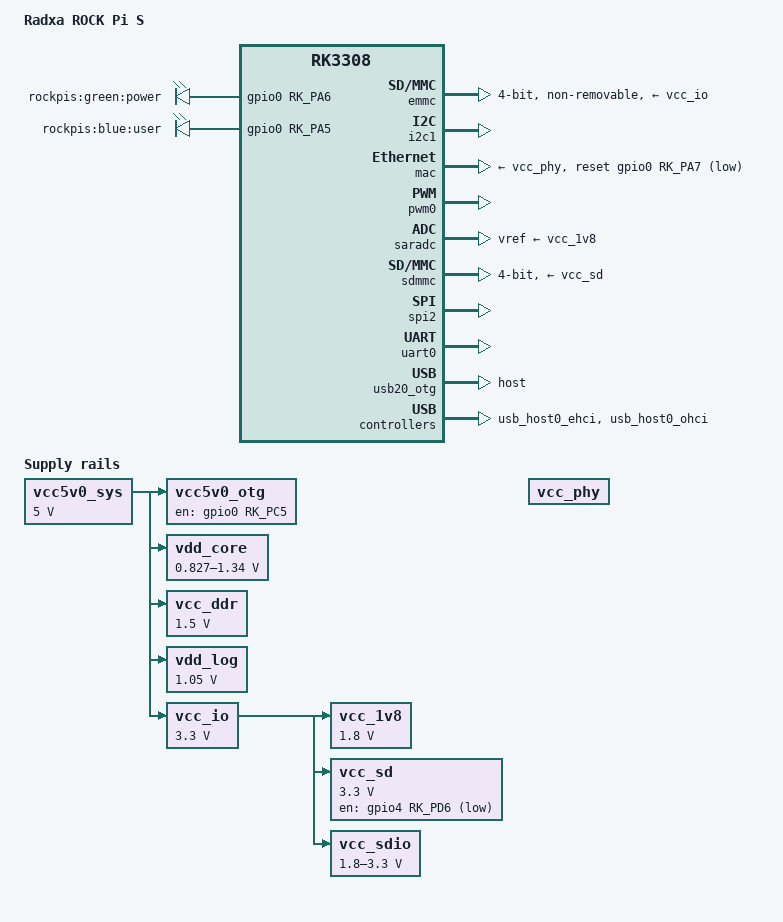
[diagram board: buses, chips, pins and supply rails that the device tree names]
// SPDX-License-Identifier: (GPL-2.0+ OR MIT)
/*
 * Copyright (c) 2019 Akash Gajjar <akash@openedev.com>
 * Copyright (c) 2019 Jagan Teki <jagan@openedev.com>
 */

/dts-v1/;
#include "rk3308.dtsi"

/ {
	model = "Radxa ROCK Pi S";
	compatible = "radxa,rock-pi-s", "rockchip,rk3308";

	chosen {
		stdout-path = "serial0:1500000n8";
	};

	leds {
		compatible = "gpio-leds";
		pinctrl-names = "default";
		pinctrl-0 = <&green_led_gio>, <&heartbeat_led_gpio>;

		green-led {
			label = "rockpis:green:power";
			gpios = <&gpio0 RK_PA6 GPIO_ACTIVE_HIGH>;
			linux,default-trigger = "default-on";
			default-state = "on";
		};

		blue-led {
			label = "rockpis:blue:user";
			gpios = <&gpio0 RK_PA5 GPIO_ACTIVE_HIGH>;
			default-state = "on";
			linux,default-trigger = "heartbeat";
		};
	};

	vcc5v0_sys: vcc5v0-sys {
		compatible = "regulator-fixed";
		regulator-name = "vcc5v0_sys";
		regulator-always-on;
		regulator-boot-on;
		regulator-min-microvolt = <5000000>;
		regulator-max-microvolt = <5000000>;
	};

	vcc5v0_otg: vcc5v0-otg {
		compatible = "regulator-fixed";
		regulator-name = "vcc5v0_otg";
		regulator-always-on;
		gpio = <&gpio0 RK_PC5 GPIO_ACTIVE_HIGH>;
		enable-active-high;
		pinctrl-names = "default";
		pinctrl-0 = <&otg_vbus_drv>;
		vin-supply = <&vcc5v0_sys>;
	};

	vdd_core: vdd-core {
		compatible = "pwm-regulator";
		pwms = <&pwm0 0 5000 1>;
		regulator-name = "vdd_core";
		regulator-min-microvolt = <827000>;
		regulator-max-microvolt = <1340000>;
		regulator-init-microvolt = <1015000>;
		regulator-settling-time-up-us = <250>;
		regulator-always-on;
		regulator-boot-on;
		pwm-supply = <&vcc5v0_sys>;
	};

	vcc_ddr: vcc-ddr {
		compatible = "regulator-fixed";
		regulator-name = "vcc_ddr";
		regulator-always-on;
		regulator-boot-on;
		regulator-min-microvolt = <1500000>;
		regulator-max-microvolt = <1500000>;
		vin-supply = <&vcc5v0_sys>;
	};

	vdd_log: vdd-log {
		compatible = "regulator-fixed";
		regulator-name = "vdd_log";
		regulator-always-on;
		regulator-boot-on;
		regulator-min-microvolt = <1050000>;
		regulator-max-microvolt = <1050000>;
		vin-supply = <&vcc5v0_sys>;
	};


	vcc_1v8: vcc-1v8 {
		compatible = "regulator-fixed";
		regulator-name = "vcc_1v8";
		regulator-always-on;
		regulator-boot-on;
		regulator-min-microvolt = <1800000>;
		regulator-max-microvolt = <1800000>;
		vin-supply = <&vcc_io>;
	};

	vcc_io: vcc-io {
		compatible = "regulator-fixed";
		regulator-name = "vcc_io";
		regulator-always-on;
		regulator-boot-on;
		regulator-min-microvolt = <3300000>;
		regulator-max-microvolt = <3300000>;
		vin-supply = <&vcc5v0_sys>;
	};

	vcc_phy: vcc-phy-regulator {
		compatible = "regulator-fixed";
		regulator-name = "vcc_phy";
		regulator-always-on;
		regulator-boot-on;
	};

	vcc_sd: vcc-sd {
		compatible = "regulator-fixed";
		gpio = <&gpio4 RK_PD6 GPIO_ACTIVE_LOW>;
		regulator-name = "vcc_sd";
		regulator-min-microvolt = <3300000>;
		regulator-max-microvolt = <3300000>;
		regulator-always-on;
		regulator-boot-on;
		vin-supply = <&vcc_io>;
	};

	vcc_sdio: vcc-sdio {
		compatible = "regulator-gpio";
		regulator-name = "vcc_sdio";
		regulator-min-microvolt = <1800000>;
		regulator-max-microvolt = <3300000>;
		states = <1800000 0x0
			  3300000 0x1>;
		vin-supply = <&vcc_io>;
	};
};

&cpu0 {
	cpu-supply = <&vdd_core>;
};

&emmc {
	bus-width = <4>;
	cap-mmc-highspeed;
	mmc-hs200-1_8v;
	disable-wp;
	non-removable;
	vmmc-supply = <&vcc_io>;
	status = "okay";
};

&i2c1 {
	status = "okay";
};

&mac {
	assigned-clocks = <&cru SCLK_MAC>;
	assigned-clock-parents = <&cru SCLK_MAC_SRC>;
	clock_in_out = "output";
	phy-supply = <&vcc_phy>;
	snps,reset-gpio = <&gpio0 RK_PA7 GPIO_ACTIVE_LOW>;
	snps,reset-active-low;
	snps,reset-delays-us = <0 50000 50000>;
	status = "okay";
};

&pinctrl {
	pinctrl-names = "default";
	pinctrl-0 = <&rtc_32k>;

	leds {
		green_led_gio: green-led-gpio {
			rockchip,pins = <0 RK_PA6 RK_FUNC_GPIO &pcfg_pull_none>;
		};

		heartbeat_led_gpio: heartbeat-led-gpio {
			rockchip,pins = <0 RK_PA5 RK_FUNC_GPIO &pcfg_pull_none>;
		};
	};

	usb {
		otg_vbus_drv: otg-vbus-drv {
			rockchip,pins = <0 RK_PC5 RK_FUNC_GPIO &pcfg_pull_none>;
		};
	};
};

&pwm0 {
	status = "okay";
	pinctrl-0 = <&pwm0_pin_pull_down>;
};

&saradc {
	vref-supply = <&vcc_1v8>;
	status = "okay";
};

&sdmmc {
	bus-width = <4>;
	cap-mmc-highspeed;
	cap-sd-highspeed;
	max-frequeency = <150000000>;
	disable-wp;
	pinctrl-0 = <&sdmmc_clk &sdmmc_cmd &sdmmc_det &sdmmc_bus4>;
	card-detect-delay = <800>;
	vmmc-supply = <&vcc_sd>;
	vqmmc-supply = <&vcc_sdio>;
	status = "okay";
};

&spi2 {
	status = "okay";
	max-freq = <10000000>;
};

&uart0 {
	status = "okay";
	pinctrl-names = "default";
	pinctrl-0 = <&uart0_xfer>;
};

&usb20_otg {
	dr_mode = "host";
	status = "okay";
};

&usb_host0_ehci {
	status = "okay";
};

&usb_host0_ohci{
	status = "okay";
};
